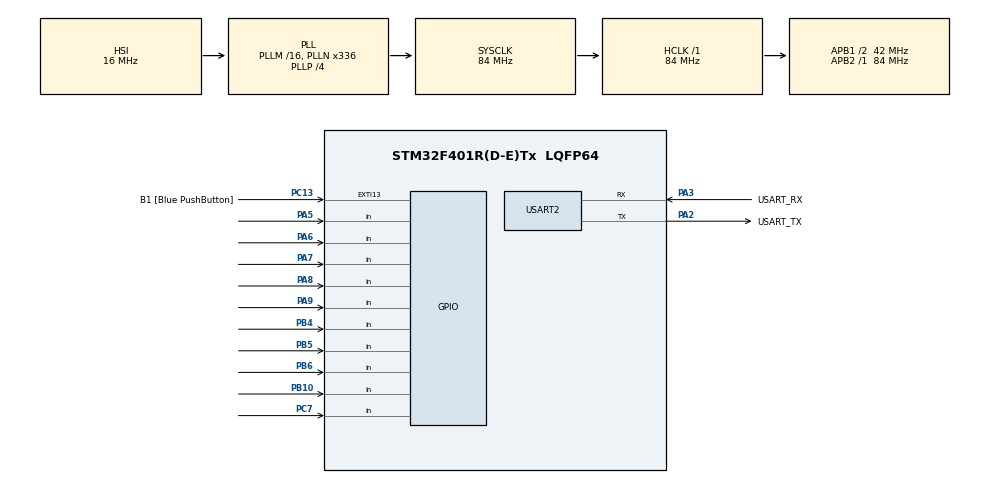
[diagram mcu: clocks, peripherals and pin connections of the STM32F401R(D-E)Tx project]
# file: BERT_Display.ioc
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Mcu.Family=STM32F4
Mcu.Name=STM32F401R(D-E)Tx
Mcu.Package=LQFP64
NVIC.PriorityGroup=NVIC_PRIORITYGROUP_4
PA13.GPIO_Label=TMS
PA13.Mode=Trace_Asynchronous_SW
PA13.Signal=SYS_JTMS-SWDIO
PA14.GPIO_Label=TCK
PA14.Mode=Trace_Asynchronous_SW
PA14.Signal=SYS_JTCK-SWCLK
PA2.GPIO_Label=USART_TX
PA2.GPIO_Mode=GPIO_MODE_AF_PP
PA2.GPIO_PuPd=GPIO_NOPULL
PA2.GPIO_Speed=GPIO_SPEED_FREQ_LOW
PA2.Mode=Asynchronous
PA2.Signal=USART2_TX
PA3.GPIO_Label=USART_RX
PA3.GPIO_Mode=GPIO_MODE_AF_PP
PA3.GPIO_PuPd=GPIO_NOPULL
PA3.GPIO_Speed=GPIO_SPEED_FREQ_LOW
PA3.Mode=Asynchronous
PA3.Signal=USART2_RX
PA5.GPIO_PuPd=GPIO_PULLDOWN
PA5.Signal=GPIO_Input
PA6.GPIO_PuPd=GPIO_PULLDOWN
PA6.Signal=GPIO_Input
PA7.GPIO_PuPd=GPIO_PULLDOWN
PA7.Signal=GPIO_Input
PA8.GPIO_PuPd=GPIO_PULLDOWN
PA8.Signal=GPIO_Input
PA9.GPIO_PuPd=GPIO_PULLDOWN
PA9.Signal=GPIO_Input
PB10.Signal=GPIO_Input
PB3.GPIO_Label=SWO
PB3.Mode=Trace_Asynchronous_SW
PB3.Signal=SYS_JTDO-SWO
PB4.GPIO_PuPd=GPIO_PULLDOWN
PB4.Signal=GPIO_Input
PB5.GPIO_PuPd=GPIO_PULLDOWN
PB5.Signal=GPIO_Input
PB6.GPIO_PuPd=GPIO_PULLDOWN
PB6.Signal=GPIO_Input
PC13-ANTI_TAMP.GPIO_Label=B1 [Blue PushButton]
PC13-ANTI_TAMP.GPIO_ModeDefaultEXTI=GPIO_MODE_IT_FALLING
PC13-ANTI_TAMP.GPIO_PuPd=GPIO_NOPULL
PC13-ANTI_TAMP.Signal=GPXTI13
PC14-OSC32_IN.Mode=LSE-External-Oscillator
PC14-OSC32_IN.Signal=RCC_OSC32_IN
PC15-OSC32_OUT.Mode=LSE-External-Oscillator
PC15-OSC32_OUT.Signal=RCC_OSC32_OUT
PC7.Signal=GPIO_Input
PH0\ -\ OSC_IN.Mode=HSE-External-Clock-Source
PH0\ -\ OSC_IN.Signal=RCC_OSC_IN
PH1\ -\ OSC_OUT.Mode=HSE-External-Clock-Source
PH1\ -\ OSC_OUT.Signal=RCC_OSC_OUT
ProjectManager.HeapSize=0x200
ProjectManager.StackSize=0x400
ProjectManager.TargetToolchain=STM32CubeIDE
RCC.48MHZClocksFreq_Value=48000000
RCC.AHBFreq_Value=84000000
RCC.APB1CLKDivider=RCC_HCLK_DIV2
RCC.APB1Freq_Value=42000000
RCC.APB1TimFreq_Value=84000000
RCC.APB2Freq_Value=84000000
RCC.APB2TimFreq_Value=84000000
RCC.CortexFreq_Value=84000000
RCC.HCLKFreq_Value=84000000
RCC.HSE_VALUE=8000000
RCC.HSI_VALUE=16000000
RCC.PLLN=336
RCC.PLLP=RCC_PLLP_DIV4
RCC.PLLQ=7
RCC.SYSCLKFreq_VALUE=84000000
RCC.SYSCLKSource=RCC_SYSCLKSOURCE_PLLCLK
RCC.VCOOutputFreq_Value=336000000
USART2.VirtualMode=VM_ASYNC
board=NUCLEO-F401RE

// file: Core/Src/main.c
/* USER CODE BEGIN Header */
/**
  ******************************************************************************
  * @file           : main.c
  * @brief          : Main program body
  ******************************************************************************
  * @attention
  *
  * Copyright (c) 2026 STMicroelectronics.
  * All rights reserved.
  *
  * This software is licensed under terms that can be found in the LICENSE file
  * in the root directory of this software component.
  * If no LICENSE file comes with this software, it is provided AS-IS.
  *
  ******************************************************************************
  */
/* USER CODE END Header */
#include "main.h"

/* USER CODE BEGIN Includes */
#include <stdio.h>
#include <string.h>
#include <time.h>
#include "stm32f4xx_hal.h"
#include <stdbool.h>
#include <stdlib.h>

/* USER CODE END Includes */

UART_HandleTypeDef huart2;

/* USER CODE BEGIN PV */
uint16_t value = 0;

GPIO_TypeDef* ports[10] = {
    GPIOA, GPIOA, GPIOA, GPIOB, GPIOC,
    GPIOA, GPIOA, GPIOB, GPIOB, GPIOB
};

uint16_t pins[10] = {
    GPIO_PIN_5, GPIO_PIN_6, GPIO_PIN_7, GPIO_PIN_6, GPIO_PIN_7,
    GPIO_PIN_9, GPIO_PIN_8, GPIO_PIN_10, GPIO_PIN_4, GPIO_PIN_5
};

char msg[20];

/* USER CODE END PV */

void SystemClock_Config(void);
static void MX_GPIO_Init(void);
static void MX_USART2_UART_Init(void);

int main(void)
{

  /* MCU Configuration--------------------------------------------------------*/

  /* Reset of all peripherals, Initializes the Flash interface and the Systick. */
  HAL_Init();

  /* Configure the system clock */
  SystemClock_Config();

  /* Initialize all configured peripherals */
  MX_GPIO_Init();
  MX_USART2_UART_Init();

  /* Infinite loop */
  while (1)
  {

    /* USER CODE BEGIN 3 */
	  for (int i = 0; i < 10; i++) {
	      value |= (HAL_GPIO_ReadPin(ports[i], pins[i]) << i);
	  }

	  sprintf(msg, "Errors: %hu \r\n", value);
	  HAL_UART_Transmit(&huart2, (uint8_t *) msg, strlen(msg), HAL_MAX_DELAY);

	  HAL_Delay(1000);
	  NVIC_SystemReset();

  }

  /* USER CODE END 3 */
}

void SystemClock_Config(void)
{
  RCC_OscInitTypeDef RCC_OscInitStruct = {0};
  RCC_ClkInitTypeDef RCC_ClkInitStruct = {0};

  /** Configure the main internal regulator output voltage
  */
  __HAL_RCC_PWR_CLK_ENABLE();
  __HAL_PWR_VOLTAGESCALING_CONFIG(PWR_REGULATOR_VOLTAGE_SCALE2);

  /** Initializes the RCC Oscillators according to the specified parameters
  * in the RCC_OscInitTypeDef structure.
  */
  RCC_OscInitStruct.OscillatorType = RCC_OSCILLATORTYPE_HSI;
  RCC_OscInitStruct.HSIState = RCC_HSI_ON;
  RCC_OscInitStruct.HSICalibrationValue = RCC_HSICALIBRATION_DEFAULT;
  RCC_OscInitStruct.PLL.PLLState = RCC_PLL_ON;
  RCC_OscInitStruct.PLL.PLLSource = RCC_PLLSOURCE_HSI;
  RCC_OscInitStruct.PLL.PLLM = 16;
  RCC_OscInitStruct.PLL.PLLN = 336;
  RCC_OscInitStruct.PLL.PLLP = RCC_PLLP_DIV4;
  RCC_OscInitStruct.PLL.PLLQ = 7;
  if (HAL_RCC_OscConfig(&RCC_OscInitStruct) != HAL_OK)
  {
    Error_Handler();
  }

  /** Initializes the CPU, AHB and APB buses clocks
  */
  RCC_ClkInitStruct.ClockType = RCC_CLOCKTYPE_HCLK|RCC_CLOCKTYPE_SYSCLK
                              |RCC_CLOCKTYPE_PCLK1|RCC_CLOCKTYPE_PCLK2;
  RCC_ClkInitStruct.SYSCLKSource = RCC_SYSCLKSOURCE_PLLCLK;
  RCC_ClkInitStruct.AHBCLKDivider = RCC_SYSCLK_DIV1;
  RCC_ClkInitStruct.APB1CLKDivider = RCC_HCLK_DIV2;
  RCC_ClkInitStruct.APB2CLKDivider = RCC_HCLK_DIV1;

  if (HAL_RCC_ClockConfig(&RCC_ClkInitStruct, FLASH_LATENCY_2) != HAL_OK)
  {
    Error_Handler();
  }
}

static void MX_USART2_UART_Init(void)
{

  huart2.Instance = USART2;
  huart2.Init.BaudRate = 115200;
  huart2.Init.WordLength = UART_WORDLENGTH_8B;
  huart2.Init.StopBits = UART_STOPBITS_1;
  huart2.Init.Parity = UART_PARITY_NONE;
  huart2.Init.Mode = UART_MODE_TX_RX;
  huart2.Init.HwFlowCtl = UART_HWCONTROL_NONE;
  huart2.Init.OverSampling = UART_OVERSAMPLING_16;
  if (HAL_UART_Init(&huart2) != HAL_OK)
  {
    Error_Handler();
  }

}

static void MX_GPIO_Init(void)
{
  GPIO_InitTypeDef GPIO_InitStruct = {0};

  /* GPIO Ports Clock Enable */
  __HAL_RCC_GPIOC_CLK_ENABLE();
  __HAL_RCC_GPIOH_CLK_ENABLE();
  __HAL_RCC_GPIOA_CLK_ENABLE();
  __HAL_RCC_GPIOB_CLK_ENABLE();

  /*Configure GPIO pin : B1_Pin */
  GPIO_InitStruct.Pin = B1_Pin;
  GPIO_InitStruct.Mode = GPIO_MODE_IT_FALLING;
  GPIO_InitStruct.Pull = GPIO_NOPULL;
  HAL_GPIO_Init(B1_GPIO_Port, &GPIO_InitStruct);

  /*Configure GPIO pins : PA5 PA6 PA7 PA8
                           PA9 */
  GPIO_InitStruct.Pin = GPIO_PIN_5|GPIO_PIN_6|GPIO_PIN_7|GPIO_PIN_8
                          |GPIO_PIN_9;
  GPIO_InitStruct.Mode = GPIO_MODE_INPUT;
  GPIO_InitStruct.Pull = GPIO_PULLDOWN;
  HAL_GPIO_Init(GPIOA, &GPIO_InitStruct);

  /*Configure GPIO pin : PB10 */
  GPIO_InitStruct.Pin = GPIO_PIN_10;
  GPIO_InitStruct.Mode = GPIO_MODE_INPUT;
  GPIO_InitStruct.Pull = GPIO_NOPULL;
  HAL_GPIO_Init(GPIOB, &GPIO_InitStruct);

  /*Configure GPIO pin : PC7 */
  GPIO_InitStruct.Pin = GPIO_PIN_7;
  GPIO_InitStruct.Mode = GPIO_MODE_INPUT;
  GPIO_InitStruct.Pull = GPIO_NOPULL;
  HAL_GPIO_Init(GPIOC, &GPIO_InitStruct);

  /*Configure GPIO pins : PB4 PB5 PB6 */
  GPIO_InitStruct.Pin = GPIO_PIN_4|GPIO_PIN_5|GPIO_PIN_6;
  GPIO_InitStruct.Mode = GPIO_MODE_INPUT;
  GPIO_InitStruct.Pull = GPIO_PULLDOWN;
  HAL_GPIO_Init(GPIOB, &GPIO_InitStruct);

}

void Error_Handler(void)
{
  __disable_irq();
  while (1)
  {
  }
}
